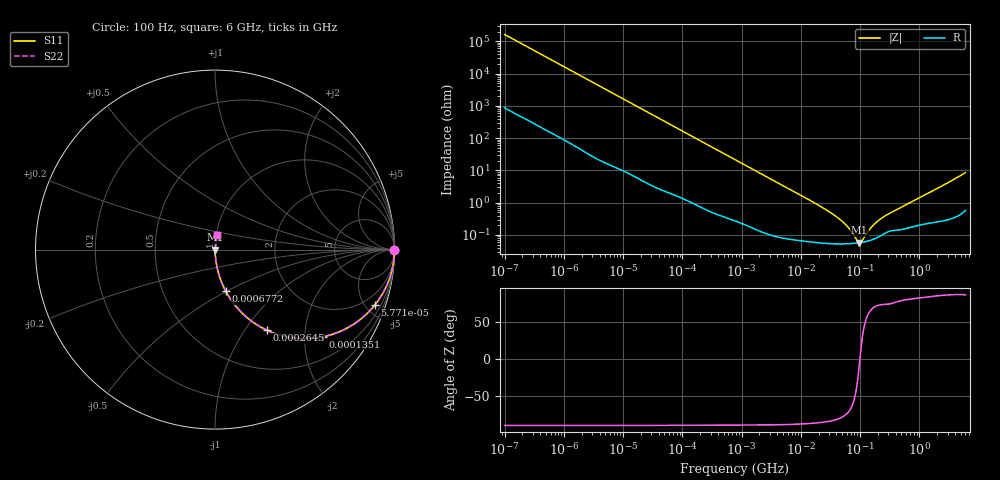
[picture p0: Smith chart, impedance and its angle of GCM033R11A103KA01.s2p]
!Murata Part Number: GCM033R11A103KA01
!These Parameters are Measured in Series Mode Connection
!Data Generated on Sep 23, 2020
!  o--ll--o
!Port1  Port2
!  o------o
!Operation Temp=25[degC], DC Bias Voltage=0[V]
!Freq. Start=100[Hz] Stop=6[GHz] 401[Steps]
# Hz S RI R 50
!Freq.(Hz) S11(Real) S11(Imag) S21(Real) S21(Imag) S12(Real) S12(Imag) S22(Real) S22(Imag)
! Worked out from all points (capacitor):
!   401 points, 100 Hz to 6 GHz, reference 50 ohm
!   read as one part in series: C = 9.78 nF near 109 Hz
!   lowest |Z| = 57.7 mohm at 97.54 MHz (marker M1)
!   series resonance near 99.48 MHz, so ESL is about 260 pH
!   S11 on the Smith chart (normalised r, x): 100 Hz: open; 57.71 kHz: 1.04, -5.76; 135.1 kHz: 1.02, -2.47; 264.5 kHz: 1.01, -1.27; 677.2 kHz: 1.01, -0.50; 6 GHz: 1.01, +0.17
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100  1 -0.000615  3.7e-06 0.000615  3.7e-06 0.000615  1 -0.000615
2008  0.9998 -0.0122  0.000212 0.0122  0.000212 0.0122  0.9998 -0.0122
12041  0.9943 -0.0725  0.00572 0.0725  0.00572 0.0725  0.9943 -0.0725
40335  0.9429 -0.2289  0.0571 0.2289  0.0571 0.2289  0.9429 -0.2289
57709  0.8906 -0.3086  0.1094 0.3086  0.1094 0.3086  0.8906 -0.3086
86348  0.786 -0.4062  0.214 0.4062  0.214 0.4062  0.786 -0.4062
135116  0.6031 -0.485  0.3969 0.485  0.3969 0.485  0.6031 -0.485
264476  0.2878 -0.4482  0.7122 0.4482  0.7122 0.4482  0.2878 -0.4482
413847  0.1436 -0.3457  0.8564 0.3457  0.8564 0.3457  0.1436 -0.3457
677235  0.0606 -0.2327  0.9394 0.2327  0.9394 0.2327  0.0606 -0.2327
774597  0.0475 -0.2065  0.9525 0.2065  0.9525 0.2065  0.0475 -0.2065
2594782  0.00535 -0.065  0.9947 0.065  0.9947 0.065  0.00535 -0.065
1.555665e7  0.000712 -0.0108  0.9993 0.0108  0.9993 0.0108  0.000712 -0.0108
4.764863e7  0.000534 -0.00279  0.9995 0.00279  0.9995 0.00279  0.000534 -0.00279
6.233367e7  0.000535 -0.00168  0.9995 0.00168  0.9995 0.00168  0.000535 -0.00168
8.918374e7  0.000561 -0.000378  0.9994 0.000378  0.9994 0.000378  0.000561 -0.000378
9.753859e7  0.000572 -6.74e-05  0.9994 6.74e-05  0.9994 6.74e-05  0.000572 -6.74e-05
1.066761e8  0.000587 0.000243  0.9994 -0.000243  0.9994 -0.000243  0.000587 0.000243
1.459435e8  0.000673 0.00135  0.9993 -0.00135  0.9993 -0.00135  0.000673 0.00135
1.825626e8  0.000787 0.0022  0.9992 -0.0022  0.9992 -0.0022  0.000787 0.0022
3.124326e8  0.00131 0.00442  0.9987 -0.00442  0.9987 -0.00442  0.00131 0.00442
6e9  0.0128 0.0836  0.9872 -0.0836  0.9872 -0.0836  0.0128 0.0836
